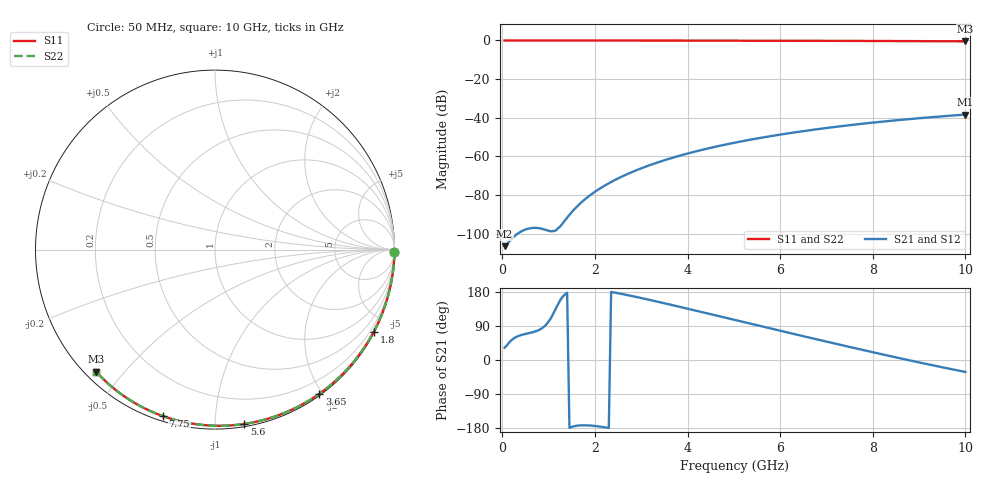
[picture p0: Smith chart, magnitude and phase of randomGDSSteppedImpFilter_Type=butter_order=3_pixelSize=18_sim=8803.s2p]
! freq	dB(S11)	phase(S11)	dB(S12)	phase(S12)
!  dB(S21)	phase(S21)	dB(S22)	phase(S22)
!S-par simulation data
#  GHz  S  DB  R 50
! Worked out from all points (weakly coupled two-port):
!   200 points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, 50 MHz to 10 GHz, reference 50 ohm
!   highest |S21| = -38.33 dB at 10 GHz (marker M1); lowest = -106.4 dB at 50 MHz (marker M2)
!   lowest |S11| = -0.5 dB at 10 GHz (marker M3), VSWR 38.34, Z = 1.54 - j21.1 ohm
!   |S11| at or under -10 dB: nowhere
!   |S22| runs from -0.5 to 0.0 dB; largest |S21 - S12| = 0
!   S11 on the Smith chart (normalised r, x): 50 MHz: open; 1.8 GHz: 0.04, -4.12; 3.65 GHz: 0.02, -1.96; 5.6 GHz: 0.02, -1.18; 7.75 GHz: 0.02, -0.73; 10 GHz: 0.03, -0.42
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0.05  -0.00 -0.8  -106.41 32.4  -106.41 32.4  -0.00 -0.8
0.45  -0.01 -6.9  -98.29 67.3  -98.29 67.3  -0.01 -6.9
0.9  -0.02 -13.8  -97.73 87.9  -97.73 87.9  -0.02 -13.8
1.75  -0.03 -26.6  -82.87 -172.3  -82.87 -172.3  -0.03 -26.6
1.8  -0.03 -27.3  -81.87 -172.3  -81.87 -172.3  -0.03 -27.3
1.9  -0.04 -28.8  -80.00 -172.9  -80.00 -172.9  -0.04 -28.8
2.05  -0.04 -31.0  -77.48 -174.8  -77.48 -174.8  -0.04 -31.0
2.25  -0.04 -34.0  -74.54 -178.3  -74.54 -178.3  -0.04 -34.0
2.45  -0.05 -36.9  -71.96 177.4  -71.96 177.4  -0.05 -36.9
2.65  -0.05 -39.8  -69.66 172.6  -69.66 172.6  -0.05 -39.8
3  -0.06 -44.9  -66.15 163.6  -66.15 163.6  -0.06 -44.9
3.4  -0.07 -50.6  -62.74 152.6  -62.74 152.6  -0.07 -50.6
3.65  -0.07 -54.1  -60.86 145.5  -60.86 145.5  -0.07 -54.1
4.3  -0.09 -63.1  -56.66 126.7  -56.66 126.7  -0.09 -63.1
5.05  -0.11 -73.3  -52.72 104.8  -52.72 104.8  -0.11 -73.3
5.6  -0.13 -80.5  -50.29 88.8  -50.29 88.8  -0.13 -80.5
6.15  -0.16 -87.6  -48.14 72.9  -48.14 72.9  -0.16 -87.6
6.7  -0.18 -94.5  -46.23 57.1  -46.23 57.1  -0.18 -94.5
7.75  -0.25 -107.4  -43.15 27.4  -43.15 27.4  -0.25 -107.4
8.35  -0.29 -114.6  -41.65 10.9  -41.65 10.9  -0.29 -114.6
9.15  -0.36 -124.1  -39.92 -10.3  -39.92 -10.3  -0.36 -124.2
10  -0.45 -134.3  -38.33 -31.6  -38.33 -31.6  -0.45 -134.3
